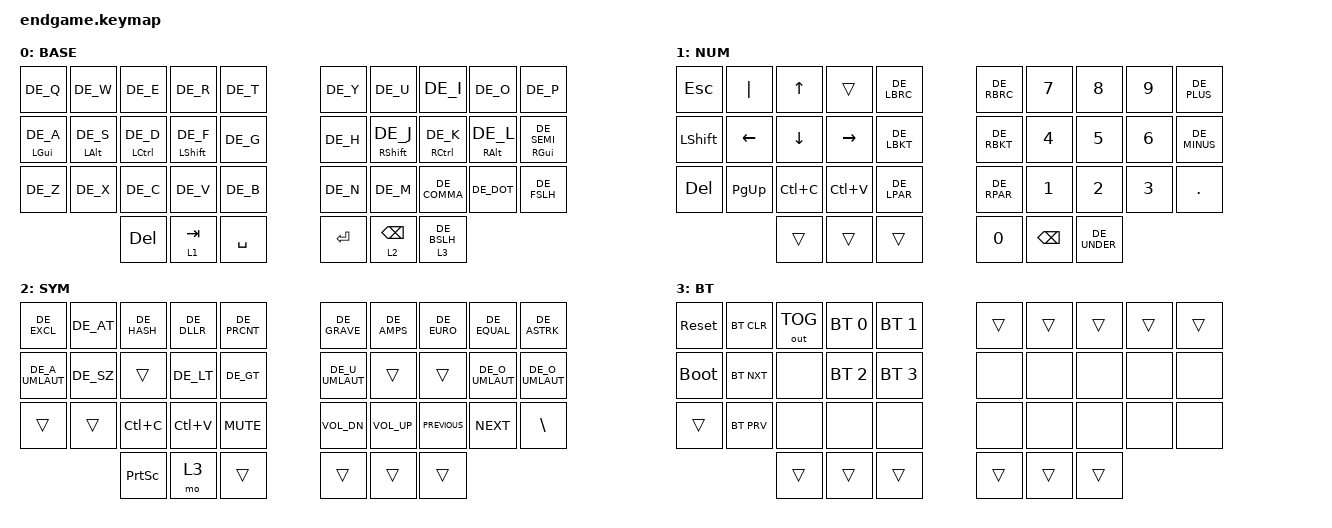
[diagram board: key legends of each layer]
/*
 * Copyright (c) 2021 The ZMK Contributors
 *
 * SPDX-License-Identifier: MIT
 */

#include <behaviors.dtsi>
#include <dt-bindings/zmk/keys.h>
#include <dt-bindings/zmk/bt.h>
#include <dt-bindings/zmk/outputs.h>
#include <locale/keys_de.h>

#define BASE 0
#define NUM  1
#define NAV  2
#define DE   3

&caps_word {
    continue-list = <UNDERSCORE MINUS BSPC LSHFT RSHFT>;
};

/* #define COMBO(NAME, BINDINGS, KEYPOS, LAYERS) \
combo_##NAME { \
    timeout-ms = <20>; \
    bindings = <BINDINGS>; \
    key-positions = <KEYPOS>; \
    layers = <LAYERS>; \
}; */
/ {
    macros {
        macro_shiftable_sch: macro_shiftable_sch {
            compatible = "zmk,behavior-macro";
            #binding-cells = <0>;
            bindings = <
                    &macro_tap &kp S
                    &macro_release &kp RSHIFT
                    &macro_tap &kp C &kp H
            >;
            tap-ms = <10>;
        };
    };
};

#define COMBO(NAME, BINDINGS, KEYPOS) \
combo_##NAME { \
    timeout-ms = <20>; \
    bindings = <BINDINGS>; \
    key-positions = <KEYPOS>; \
};
#define SLOWCOMBO(NAME, BINDINGS, KEYPOS) \
combo_##NAME { \
    timeout-ms = <60>; \
    bindings = <BINDINGS>; \
    key-positions = <KEYPOS>; \
};

/ {
    chosen {
          zmk,battery = &vbatt;
    };

    vbatt: vbatt {
            compatible = "zmk,battery-nrf-vddh";
            label = "VBATT";
    };

    combos {
        compatible = "zmk,combos";
/* usually on base layer */
        COMBO(boot, &bootloader, 0 9)
        COMBO(ESC, &kp ESC, 0 1)
        SLOWCOMBO(AMPS, &kp DE_AMPS, 4 14)
        COMBO(CAPS, &caps_word, 10 19)
        COMBO(shiftablesch, &macro_shiftable_sch, 1 3)
        SLOWCOMBO(pipe, &kp DE_PIPE, 5 15)
        COMBO(singlequote, &kp DE_SQT, 7 8)
        COMBO(doublequote, &kp DE_DQT, 8 9)
        //COMBO(symlayer, &sl SYM, 10 11)
        COMBO(plus, &kp DE_PLUS, 16 17)
        COMBO(minus, &kp DE_MINUS, 17 18)
        SLOWCOMBO(underscore, &kp DE_UNDER, 16 17 18)
        SLOWCOMBO(delete, &kp DEL, 20 21)
        SLOWCOMBO(backslash, &kp DE_BSLH, 26 27)
        SLOWCOMBO(equal, &kp DE_EQUAL, 27 28)
        SLOWCOMBO(questionmark, &kp DE_QMARK, 28 29)
        SLOWCOMBO(enter, &kp ENTER, 16 18)
/* whitespace etc */
        // COMBO(tab, &kp TAB, 5 6)
        // COMBO(esc, &kp ESC, 22 23)
        // COMBO(enter, &kp ENTER, 26 28)
/* deletion */
        COMBO(bspc, &kp BSPC, 6 7)
        // SLOWCOMBO(del, &kp DEL, 7 8)
        COMBO(delword, &kp LC(BSPC), 18 19)
/* special shifting */
        // COMBO(loss, &sk LSFT, 11 13)
        // COMBO(ross, &sk RSFT, 16 18)
        // COMBO(capslock, &kp CAPSLOCK, 1 8)
/* Studio Unlock */
        // COMBO(studiounlock, &studio_unlock, 9 19)
    };

    behaviors {
        hl: homerow_mods_left {
            compatible = "zmk,behavior-hold-tap";
            label = "homerow mods left";
            #binding-cells = <2>;
            //flavor = "hold-preferred";
            // flavor = "tap-preferred";
            flavor = "balanced";
            tapping-term-ms = <160>;
            //quick-tap-ms = <100>;
            //hold-while-undecided;
            // global-quick-tap;
            bindings = <&kp>, <&kp>;
            // opposite side hand keys
            hold-trigger-key-positions = <5 6 7 8 9 15 16 17 18 19 25 26 27 28 29 30 31 32 33 34 35>;
        };
        hr: homerow_mods_right {
            compatible = "zmk,behavior-hold-tap";
            label = "homerow mods right";
            #binding-cells = <2>;
            //flavor = "hold-preferred";
            // flavor = "tap-preferred";
            flavor = "balanced";
            tapping-term-ms = <160>;
            //hold-while-undecided;
            //quick-tap-ms = <100>;
            // global-quick-tap;
            bindings = <&kp>, <&kp>;
            // opposite side hand keys
            hold-trigger-key-positions = <0 1 2 3 4 10 11 12 13 14 20 21 22 23 24 30 31 32 33 34 35>;
        };
    };

    keymap {
        compatible = "zmk,keymap";
        // ------------------------------------------------------------------------------------------------------
// |    0    |    1    |    2    |    3    |    4    |    5    |    6    |    7    |    8    |    9    |
// |   10    |   11    |   12    |   13    |   14    |   15    |   16    |   17    |   18    |   19    |
// |   20    |   21    |   22    |   23    |   24    |   25    |   26    |   27    |   28    |   29    |
// |   30    |                   |   31    |   32    |   33    |   34    |                   |   35    |

        BASE_layer {
            label= "BASE";
            bindings = <
                &kp DE_Q       &kp DE_W        &kp DE_E          &kp DE_R               &kp DE_T       &kp DE_Y   &kp DE_U       &kp DE_I       &kp DE_O       &kp DE_P
                &hl LGUI DE_A  &hl LALT DE_S   &hl LCTRL DE_D    &hl LSHFT DE_F         &kp DE_G       &kp DE_H   &hr RSHFT DE_J &hr RCTRL DE_K &hr RALT DE_L  &hr RGUI DE_SEMI
                &kp DE_Z       &kp DE_X        &kp DE_C          &kp DE_V               &kp DE_B       &kp DE_N   &kp DE_M       &kp DE_COMMA   &kp DE_DOT     &kp DE_FSLH
                &kp DEL                        &lt 1 TAB         &kp SPACE              &kp ENTER      &lt 2 BSPC                                              &lt 3 DE_BSLH
                        >;
        };


        NUM_layer {
            label= "NUM";
            bindings = <
                &kp ESC      &kp PIPE        &kp UP           &trans             &kp DE_LBRC        &kp DE_RBRC         &kp N7       &kp N8       &kp N9         &kp DE_PLUS
                &kp LSHFT    &kp LEFT        &kp DOWN         &kp RIGHT          &kp DE_LBKT        &kp DE_RBKT         &kp N4       &kp N5       &kp N6         &kp DE_MINUS
                &kp DEL      &kp PAGE_UP     &kp LC(C)        &kp LC(V)          &kp DE_LPAR        &kp DE_RPAR         &kp N1       &kp N2       &kp N3         &kp DOT 
                                        &trans        &trans        &trans                          &kp N0              &kp BSPC                                 &kp DE_UNDER
            >;
        };

        

        SYM_layer {
            label= "SYM";
            bindings = <
                &kp DE_EXCL     &kp DE_AT     &kp DE_HASH    &kp DE_DLLR       &kp DE_PRCNT         &kp DE_GRAVE    &kp DE_AMPS     &kp DE_EURO     &kp DE_EQUAL      &kp DE_ASTRK         
                &kp DE_A_UMLAUT &kp DE_SZ     &trans         &kp DE_LT         &kp DE_GT            &kp DE_U_UMLAUT &trans          &trans          &kp DE_O_UMLAUT   &kp DE_O_UMLAUT
                &trans          &trans        &kp LC(C)      &kp LC(V)         &kp C_MUTE           &kp C_VOL_DN    &kp C_VOL_UP    &kp C_PREVIOUS  &kp C_NEXT        &kp BACKSLASH
                &kp PRINTSCREEN                              &mo 3             &trans               &trans      &trans                                                &trans
            >;
        };
        BT_layer {
            label= "BT";
            bindings = <
                &sys_reset   &bt BT_CLR  &out OUT_TOG  &bt BT_SEL 0  &bt BT_SEL 1  &trans  &trans  &trans  &trans  &trans
                &bootloader  &bt BT_NXT  &none         &bt BT_SEL 2  &bt BT_SEL 3  &none   &none   &none   &none   &none
                &trans       &bt BT_PRV  &none         &none         &none    &none   &none   &none   &none   &none
                                        &trans       &trans       &trans       &trans   &trans  &trans
            >;
        };
    };
};
